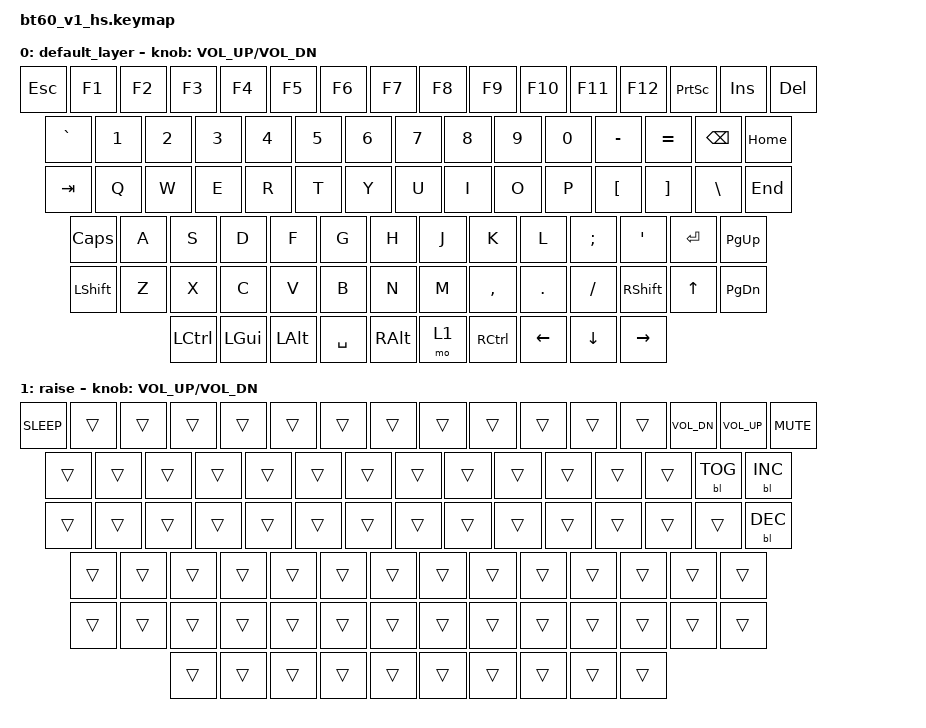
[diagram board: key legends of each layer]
#include <behaviors.dtsi>
#include <dt-bindings/zmk/keys.h>
#include <dt-bindings/zmk/bt.h>
#include <dt-bindings/zmk/backlight.h>

/ {
	keymap {
		compatible = "zmk,keymap";

		default_layer {
				// ------------------------------------------------------------------------------------------
				// |Esc | F1  | F2  | F3  | F4  | F5  | F6  | F7  | F8  | F9  | F10 | F11 | F12 |PtrSC| Ins | DEL
				// | `~ |  1  |  2  |  3  |  4  |  5  |  6  |  7  |  8  |  9  |  0  |  -  |  =  |   BKSP   | HOME
				// | TAB  |  Q  |  W  |  E  |  R  |  T  |  Y  |  U  |  I  |  O  |  P  |  [  |  ]  |   |    | END
				// | CAPS  |  A  |  S  |  D  |  F  |  G  |  H  |  J  |  K  |  L  |  ;  |  '  |     ENTER   | PGUP
				// |  SHIFT    |  Z  |  X  |  C  |  V  |  B  |  N  |  M  |  ,  |  .  | /   |   SHIFT  | UP | PGDN
				// |  CTL  |  WIN  |  ALT  |            SPACE               | ALT | FN | CTRL | LEFT | DOWN| RIGHT
				// ------------------------------------------------------------------------------------------
			bindings = <
				&kp ESC &kp F1 &kp F2 &kp F3 &kp F4 &kp F5 &kp F6 &kp F7 &kp  F8  &kp  F9 &kp  F10  &kp F11 &kp F12 &kp PSCRN &kp INS &kp DEL
				&kp GRAVE &kp N1 &kp N2 &kp N3 &kp N4 &kp N5 &kp N6 &kp N7 &kp N8  &kp  N9 &kp  N0  &kp MINUS &kp EQUAL &kp BSPC 	  &kp HOME
				&kp TAB  &kp Q  &kp W  &kp E  &kp R  &kp T  &kp Y  &kp U  &kp  I    &kp  O  &kp  P   &kp LBKT &kp RBKT  &kp BSLH 	  &kp END
				&kp CLCK  &kp A  &kp S  &kp D  &kp F  &kp G  &kp H  &kp J  &kp  K    &kp  L  &kp SEMI &kp SQT           &kp RET	 	  &kp PG_UP
				&kp LSHFT  &kp Z  &kp X  &kp C  &kp V  &kp B  &kp N  &kp M  &kp COMMA &kp DOT &kp FSLH             &kp RSHFT  &kp UP  &kp PG_DN
				&kp LCTRL &kp LGUI &kp LALT            &kp SPACE                          &kp RALT  &mo 1 &kp RCTRL &kp LEFT &kp DOWN &kp RIGHT
			>;
			sensor-bindings = <&inc_dec_kp C_VOL_UP C_VOL_DN>;
		};
		raise {
			// bindings = <
			//	&kp GRAVE &kp F1 &kp F2 &kp F3 &kp F4 &kp F5 &kp F6 &kp F7 &kp  F8   &kp  F9 &kp  F10  &kp F11 &kp F12   &kp DEL &trans
			//	&trans &trans &kp UP &trans &trans &trans &trans &trans &kp INS &trans &kp PSCRN &kp SLCK &kp PAUSE_BREAK &reset
			//	&trans    &kp LEFT &kp DOWN &kp RIGHT &trans &trans &trans &trans &trans &trans &kp HOME  &kp PG_UP   &bootloader
			//	&kp C_PREV &kp C_VOL_DN &kp C_VOL_UP &kp C_MUTE &trans &trans &trans &trans &trans &kp END &kp PG_DN  &kp C_NEXT
			//	&bt BT_PRV &bt BT_NXT  &trans              &trans                            &trans   &trans   &trans &bt BT_CLR
			//>;
			bindings = <
				&kp C_SLEEP &trans &trans &trans &trans &trans &trans &trans &trans  &trans &trans  &trans &trans &kp C_VOL_DN &kp C_VOL_UP &kp C_MUTE
				&trans &trans &trans &trans &trans &trans &trans &trans &trans  &trans &trans  &trans &trans		 &bl BL_TOG 	  &bl BL_INC
				&trans  &trans  &trans  &trans  &trans  &trans  &trans  &trans  &trans    &trans  &trans   &trans &trans  &trans 	  &bl BL_DEC
				&trans  &trans  &trans  &trans  &trans  &trans  &trans  &trans  &trans    &trans  &trans &trans           &trans	 	  &trans
				&trans  &trans  &trans  &trans  &trans  &trans  &trans  &trans  &trans &trans &trans             &trans  &trans  &trans
				&trans &trans &trans            &trans                          &trans  &trans &trans &trans &trans &trans
			>;
			sensor-bindings = <&inc_dec_kp C_VOL_UP C_VOL_DN>;
		};
	};
};
